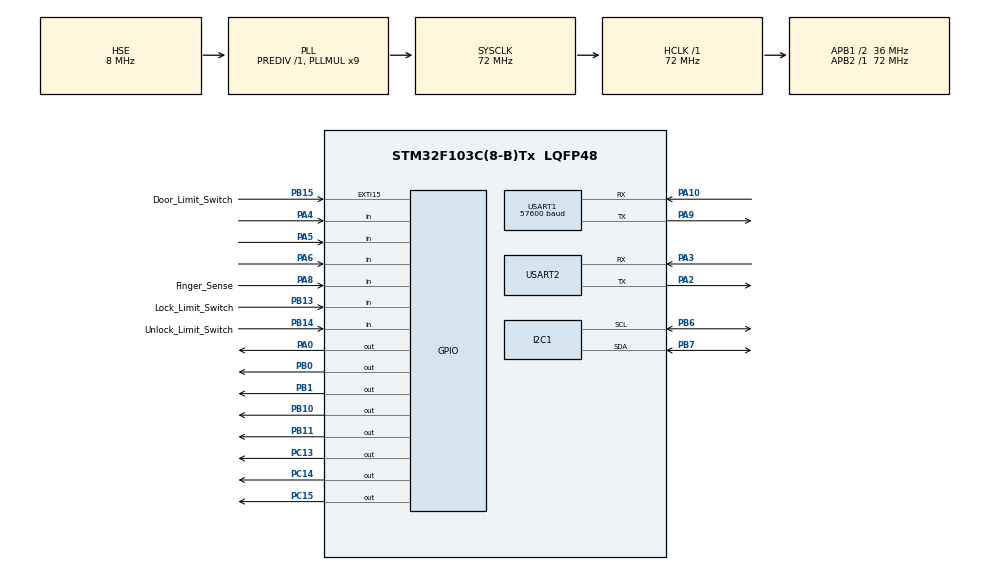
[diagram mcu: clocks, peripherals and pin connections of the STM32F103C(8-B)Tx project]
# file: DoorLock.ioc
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FREERTOS.Tasks01=OLEDTask,24,128,OLEDLoop,Default,NULL,Dynamic,NULL,NULL;KeyPadTask,24,128,KeyPadLoop,Default,NULL,Dynamic,NULL,NULL;FingerPrintTask,24,300,FingerPrintLoop,Default,NULL,Dynamic,NULL,NULL;LockControl,24,128,LockControlLoop,Default,NULL,Dynamic,NULL,NULL
FREERTOS.configTOTAL_HEAP_SIZE=5000
FREERTOS.configUSE_NEWLIB_REENTRANT=1
I2C1.I2C_Mode=I2C_Fast
IWDG.Reload=799
Mcu.Family=STM32F1
Mcu.Name=STM32F103C(8-B)Tx
Mcu.Package=LQFP48
NVIC.EXTI15_10_IRQn=true\:5\:0\:false\:false\:true\:true\:true\:true\:true
NVIC.PriorityGroup=NVIC_PRIORITYGROUP_4
NVIC.TIM1_UP_IRQn=true\:15\:0\:false\:false\:true\:false\:false\:true\:true
NVIC.TimeBase=TIM1_UP_IRQn
NVIC.TimeBaseIP=TIM1
NVIC.USART1_IRQn=true\:5\:0\:false\:false\:true\:true\:true\:true\:true
NVIC.USART2_IRQn=true\:5\:0\:false\:false\:true\:true\:true\:true\:true
PA0-WKUP.Signal=GPIO_Output
PA10.Mode=Asynchronous
PA10.Signal=USART1_RX
PA13.Mode=Serial_Wire
PA13.Signal=SYS_JTMS-SWDIO
PA14.Mode=Serial_Wire
PA14.Signal=SYS_JTCK-SWCLK
PA2.Mode=Asynchronous
PA2.Signal=USART2_TX
PA3.Mode=Asynchronous
PA3.Signal=USART2_RX
PA4.GPIO_PuPd=GPIO_PULLDOWN
PA4.Signal=GPIO_Input
PA5.GPIO_PuPd=GPIO_PULLDOWN
PA5.Signal=GPIO_Input
PA6.GPIO_PuPd=GPIO_PULLDOWN
PA6.Signal=GPIO_Input
PA8.GPIO_Label=Finger_Sense
PA8.GPIO_PuPd=GPIO_PULLDOWN
PA8.Signal=GPIO_Input
PA9.Mode=Asynchronous
PA9.Signal=USART1_TX
PB0.Signal=GPIO_Output
PB1.Signal=GPIO_Output
PB10.Signal=GPIO_Output
PB11.Signal=GPIO_Output
PB13.GPIO_Label=Lock_Limit_Switch
PB13.GPIO_PuPd=GPIO_PULLDOWN
PB13.Signal=GPIO_Input
PB14.GPIO_Label=Unlock_Limit_Switch
PB14.GPIO_PuPd=GPIO_PULLDOWN
PB14.Signal=GPIO_Input
PB15.GPIO_Label=Door_Limit_Switch
PB15.GPIO_ModeDefaultEXTI=GPIO_MODE_IT_RISING
PB15.GPIO_PuPd=GPIO_PULLDOWN
PB15.Signal=GPXTI15
PB6.Mode=I2C
PB6.Signal=I2C1_SCL
PB7.Mode=I2C
PB7.Signal=I2C1_SDA
PC13-TAMPER-RTC.Signal=GPIO_Output
PC14-OSC32_IN.Signal=GPIO_Output
PC15-OSC32_OUT.Signal=GPIO_Output
PD0-OSC_IN.Mode=HSE-External-Oscillator
PD0-OSC_IN.Signal=RCC_OSC_IN
PD1-OSC_OUT.Mode=HSE-External-Oscillator
PD1-OSC_OUT.Signal=RCC_OSC_OUT
ProjectManager.HeapSize=0x200
ProjectManager.StackSize=0x400
ProjectManager.TargetToolchain=STM32CubeIDE
RCC.AHBFreq_Value=72000000
RCC.APB1CLKDivider=RCC_HCLK_DIV2
RCC.APB1Freq_Value=36000000
RCC.APB1TimFreq_Value=72000000
RCC.APB2Freq_Value=72000000
RCC.APB2TimFreq_Value=72000000
RCC.HCLKFreq_Value=72000000
RCC.PLLMUL=RCC_PLL_MUL9
RCC.PLLSourceVirtual=RCC_PLLSOURCE_HSE
RCC.SYSCLKFreq_VALUE=72000000
RCC.SYSCLKSource=RCC_SYSCLKSOURCE_PLLCLK
RCC.USBFreq_Value=48000000
RCC.USBPrescaler=RCC_USBCLKSOURCE_PLL_DIV1_5
USART1.BaudRate=57600
USART1.VirtualMode=VM_ASYNC
USART2.VirtualMode=VM_ASYNC
VP_FREERTOS_VS_CMSIS_V2.Mode=CMSIS_V2
VP_IWDG_VS_IWDG.Mode=IWDG_Activate
VP_SYS_VS_tim1.Mode=TIM1
board=custom

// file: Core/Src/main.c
/* USER CODE BEGIN Header */
/**
  ******************************************************************************
  * @file           : main.c
  * @brief          : Main program body
  ******************************************************************************
  * @attention
  *
  * Copyright (c) 2024 STMicroelectronics.
  * All rights reserved.
  *
  * This software is licensed under terms that can be found in the LICENSE file
  * in the root directory of this software component.
  * If no LICENSE file comes with this software, it is provided AS-IS.
  *
  ******************************************************************************
  */
/* USER CODE END Header */
#include "main.h"
#include "cmsis_os.h"

/* USER CODE BEGIN PD */
#define FLASH_END_ADDRESS 0x0800FFFB  // Address of the last 5 bytes
/* USER CODE END PD */

I2C_HandleTypeDef hi2c1;

IWDG_HandleTypeDef hiwdg;

UART_HandleTypeDef huart1;
UART_HandleTypeDef huart2;

/* Definitions for OLEDTask */
osThreadId_t OLEDTaskHandle;
const osThreadAttr_t OLEDTask_attributes = {
  .name = "OLEDTask",
  .stack_size = 128 * 4,
  .priority = (osPriority_t) osPriorityNormal,
};
/* Definitions for KeyPadTask */
osThreadId_t KeyPadTaskHandle;
const osThreadAttr_t KeyPadTask_attributes = {
  .name = "KeyPadTask",
  .stack_size = 128 * 4,
  .priority = (osPriority_t) osPriorityNormal,
};
/* Definitions for FingerPrintTask */
osThreadId_t FingerPrintTaskHandle;
const osThreadAttr_t FingerPrintTask_attributes = {
  .name = "FingerPrintTask",
  .stack_size = 300 * 4,
  .priority = (osPriority_t) osPriorityNormal,
};
/* Definitions for LockControl */
osThreadId_t LockControlHandle;
const osThreadAttr_t LockControl_attributes = {
  .name = "LockControl",
  .stack_size = 128 * 4,
  .priority = (osPriority_t) osPriorityNormal,
};

void SystemClock_Config(void);
static void MX_GPIO_Init(void);
static void MX_I2C1_Init(void);
static void MX_USART1_UART_Init(void);
static void MX_USART2_UART_Init(void);
static void MX_IWDG_Init(void);
void OLEDLoop(void *argument);
void KeyPadLoop(void *argument);
void FingerPrintLoop(void *argument);
void LockControlLoop(void *argument);

/* USER CODE BEGIN 0 */
void HAL_UART_RxCpltCallback(UART_HandleTypeDef *huart)
{
    // Your receive callback code here
	char rx;
	if (huart == &huart1)
		HAL_UART_Receive_IT(&huart1, rx, 1);
	else if (huart == &huart2)
		HAL_UART_Receive_IT(&huart2, rx, 1);
}

void HAL_GPIO_EXTI_Callback(uint16_t GPIO_Pin)
{
  if(GPIO_Pin == Door_Limit_Switch_Pin) {
    Lock_state = 1;
  } else {
      __NOP();
  }
}
/* USER CODE END 0 */

int main(void)
{

  /* MCU Configuration--------------------------------------------------------*/

  /* Reset of all peripherals, Initializes the Flash interface and the Systick. */
  HAL_Init();

  /* Configure the system clock */
  SystemClock_Config();

  /* Initialize all configured peripherals */
  MX_GPIO_Init();
  MX_I2C1_Init();
  MX_USART1_UART_Init();
  MX_USART2_UART_Init();
  MX_IWDG_Init();

  /* Init scheduler */
  osKernelInitialize();

  /* Create the thread(s) */
  /* creation of OLEDTask */
  OLEDTaskHandle = osThreadNew(OLEDLoop, NULL, &OLEDTask_attributes);

  /* creation of KeyPadTask */
  KeyPadTaskHandle = osThreadNew(KeyPadLoop, NULL, &KeyPadTask_attributes);

  /* creation of FingerPrintTask */
  FingerPrintTaskHandle = osThreadNew(FingerPrintLoop, NULL, &FingerPrintTask_attributes);

  /* creation of LockControl */
  LockControlHandle = osThreadNew(LockControlLoop, NULL, &LockControl_attributes);

  /* Start scheduler */
  osKernelStart();

  /* We should never get here as control is now taken by the scheduler */
  /* Infinite loop */
  while (1)
  {

  }
}

void SystemClock_Config(void)
{
  RCC_OscInitTypeDef RCC_OscInitStruct = {0};
  RCC_ClkInitTypeDef RCC_ClkInitStruct = {0};

  /** Initializes the RCC Oscillators according to the specified parameters
  * in the RCC_OscInitTypeDef structure.
  */
  RCC_OscInitStruct.OscillatorType = RCC_OSCILLATORTYPE_LSI|RCC_OSCILLATORTYPE_HSE;
  RCC_OscInitStruct.HSEState = RCC_HSE_ON;
  RCC_OscInitStruct.HSEPredivValue = RCC_HSE_PREDIV_DIV1;
  RCC_OscInitStruct.HSIState = RCC_HSI_ON;
  RCC_OscInitStruct.LSIState = RCC_LSI_ON;
  RCC_OscInitStruct.PLL.PLLState = RCC_PLL_ON;
  RCC_OscInitStruct.PLL.PLLSource = RCC_PLLSOURCE_HSE;
  RCC_OscInitStruct.PLL.PLLMUL = RCC_PLL_MUL9;
  if (HAL_RCC_OscConfig(&RCC_OscInitStruct) != HAL_OK)
  {
    Error_Handler();
  }

  /** Initializes the CPU, AHB and APB buses clocks
  */
  RCC_ClkInitStruct.ClockType = RCC_CLOCKTYPE_HCLK|RCC_CLOCKTYPE_SYSCLK
                              |RCC_CLOCKTYPE_PCLK1|RCC_CLOCKTYPE_PCLK2;
  RCC_ClkInitStruct.SYSCLKSource = RCC_SYSCLKSOURCE_PLLCLK;
  RCC_ClkInitStruct.AHBCLKDivider = RCC_SYSCLK_DIV1;
  RCC_ClkInitStruct.APB1CLKDivider = RCC_HCLK_DIV2;
  RCC_ClkInitStruct.APB2CLKDivider = RCC_HCLK_DIV1;

  if (HAL_RCC_ClockConfig(&RCC_ClkInitStruct, FLASH_LATENCY_2) != HAL_OK)
  {
    Error_Handler();
  }
}

static void MX_I2C1_Init(void)
{

  hi2c1.Instance = I2C1;
  hi2c1.Init.ClockSpeed = 400000;
  hi2c1.Init.DutyCycle = I2C_DUTYCYCLE_2;
  hi2c1.Init.OwnAddress1 = 0;
  hi2c1.Init.AddressingMode = I2C_ADDRESSINGMODE_7BIT;
  hi2c1.Init.DualAddressMode = I2C_DUALADDRESS_DISABLE;
  hi2c1.Init.OwnAddress2 = 0;
  hi2c1.Init.GeneralCallMode = I2C_GENERALCALL_DISABLE;
  hi2c1.Init.NoStretchMode = I2C_NOSTRETCH_DISABLE;
  if (HAL_I2C_Init(&hi2c1) != HAL_OK)
  {
    Error_Handler();
  }

}

static void MX_IWDG_Init(void)
{

  hiwdg.Instance = IWDG;
  hiwdg.Init.Prescaler = IWDG_PRESCALER_4;
  hiwdg.Init.Reload = 799;
  if (HAL_IWDG_Init(&hiwdg) != HAL_OK)
  {
    Error_Handler();
  }

}

static void MX_USART1_UART_Init(void)
{

  huart1.Instance = USART1;
  huart1.Init.BaudRate = 57600;
  huart1.Init.WordLength = UART_WORDLENGTH_8B;
  huart1.Init.StopBits = UART_STOPBITS_1;
  huart1.Init.Parity = UART_PARITY_NONE;
  huart1.Init.Mode = UART_MODE_TX_RX;
  huart1.Init.HwFlowCtl = UART_HWCONTROL_NONE;
  huart1.Init.OverSampling = UART_OVERSAMPLING_16;
  if (HAL_UART_Init(&huart1) != HAL_OK)
  {
    Error_Handler();
  }

}

static void MX_USART2_UART_Init(void)
{

  huart2.Instance = USART2;
  huart2.Init.BaudRate = 115200;
  huart2.Init.WordLength = UART_WORDLENGTH_8B;
  huart2.Init.StopBits = UART_STOPBITS_1;
  huart2.Init.Parity = UART_PARITY_NONE;
  huart2.Init.Mode = UART_MODE_TX_RX;
  huart2.Init.HwFlowCtl = UART_HWCONTROL_NONE;
  huart2.Init.OverSampling = UART_OVERSAMPLING_16;
  if (HAL_UART_Init(&huart2) != HAL_OK)
  {
    Error_Handler();
  }

}

static void MX_GPIO_Init(void)
{
  GPIO_InitTypeDef GPIO_InitStruct = {0};

  /* GPIO Ports Clock Enable */
  __HAL_RCC_GPIOC_CLK_ENABLE();
  __HAL_RCC_GPIOD_CLK_ENABLE();
  __HAL_RCC_GPIOA_CLK_ENABLE();
  __HAL_RCC_GPIOB_CLK_ENABLE();

  /*Configure GPIO pin Output Level */
  HAL_GPIO_WritePin(GPIOC, GPIO_PIN_13|GPIO_PIN_14|GPIO_PIN_15, GPIO_PIN_RESET);

  /*Configure GPIO pin Output Level */
  HAL_GPIO_WritePin(GPIOA, GPIO_PIN_0, GPIO_PIN_RESET);

  /*Configure GPIO pin Output Level */
  HAL_GPIO_WritePin(GPIOB, GPIO_PIN_0|GPIO_PIN_1|GPIO_PIN_10|GPIO_PIN_11, GPIO_PIN_RESET);

  /*Configure GPIO pins : PC13 PC14 PC15 */
  GPIO_InitStruct.Pin = GPIO_PIN_13|GPIO_PIN_14|GPIO_PIN_15;
  GPIO_InitStruct.Mode = GPIO_MODE_OUTPUT_PP;
  GPIO_InitStruct.Pull = GPIO_NOPULL;
  GPIO_InitStruct.Speed = GPIO_SPEED_FREQ_LOW;
  HAL_GPIO_Init(GPIOC, &GPIO_InitStruct);

  /*Configure GPIO pin : PA0 */
  GPIO_InitStruct.Pin = GPIO_PIN_0;
  GPIO_InitStruct.Mode = GPIO_MODE_OUTPUT_PP;
  GPIO_InitStruct.Pull = GPIO_NOPULL;
  GPIO_InitStruct.Speed = GPIO_SPEED_FREQ_LOW;
  HAL_GPIO_Init(GPIOA, &GPIO_InitStruct);

  /*Configure GPIO pins : PA4 PA5 PA6 Finger_Sense_Pin */
  GPIO_InitStruct.Pin = GPIO_PIN_4|GPIO_PIN_5|GPIO_PIN_6|Finger_Sense_Pin;
  GPIO_InitStruct.Mode = GPIO_MODE_INPUT;
  GPIO_InitStruct.Pull = GPIO_PULLDOWN;
  HAL_GPIO_Init(GPIOA, &GPIO_InitStruct);

  /*Configure GPIO pins : PB0 PB1 PB10 PB11 */
  GPIO_InitStruct.Pin = GPIO_PIN_0|GPIO_PIN_1|GPIO_PIN_10|GPIO_PIN_11;
  GPIO_InitStruct.Mode = GPIO_MODE_OUTPUT_PP;
  GPIO_InitStruct.Pull = GPIO_NOPULL;
  GPIO_InitStruct.Speed = GPIO_SPEED_FREQ_LOW;
  HAL_GPIO_Init(GPIOB, &GPIO_InitStruct);

  /*Configure GPIO pins : Lock_Limit_Switch_Pin Unlock_Limit_Switch_Pin */
  GPIO_InitStruct.Pin = Lock_Limit_Switch_Pin|Unlock_Limit_Switch_Pin;
  GPIO_InitStruct.Mode = GPIO_MODE_INPUT;
  GPIO_InitStruct.Pull = GPIO_PULLDOWN;
  HAL_GPIO_Init(GPIOB, &GPIO_InitStruct);

  /*Configure GPIO pin : Door_Limit_Switch_Pin */
  GPIO_InitStruct.Pin = Door_Limit_Switch_Pin;
  GPIO_InitStruct.Mode = GPIO_MODE_IT_RISING;
  GPIO_InitStruct.Pull = GPIO_PULLDOWN;
  HAL_GPIO_Init(Door_Limit_Switch_GPIO_Port, &GPIO_InitStruct);

  /* EXTI interrupt init*/
  HAL_NVIC_SetPriority(EXTI15_10_IRQn, 5, 0);
  HAL_NVIC_EnableIRQ(EXTI15_10_IRQn);

}

void OLEDLoop(void *argument)
{
  /* USER CODE BEGIN 5 */
	  char prev = ' ';
	  uint8_t timeout_counter= 0;
	  SSD1306_Init();
	  char snum[5];

	  SSD1306_GotoXY (0,0);
	  SSD1306_Puts ("Wei", &Font_11x18, 1);
	  SSD1306_GotoXY (0, 30);
	  SSD1306_Puts ("Liu", &Font_11x18, 1);
	  SSD1306_UpdateScreen();
	  HAL_Delay (1000);

	  SSD1306_ScrollLeft(0,7);
	  HAL_Delay(3000);
	  SSD1306_ScrollRight(0,7);
	  HAL_Delay(3000);
	  SSD1306_Stopscroll();
	  SSD1306_Clear();
	  SSD1306_GotoXY (15,0);
	  SSD1306_Puts ("Enter Key", &Font_11x18, 1);
	  SSD1306_UpdateScreen();

  /* Infinite loop */
  for(;;)
  {
	  if(key_input != ' '){
		  if(prev != key_input){
		  		prev = key_input;
		  		SSD1306_GotoXY (53, 30);
		  		SSD1306_Puts ("             ", &Font_16x26, 1);
		  		SSD1306_UpdateScreen();
		  		SSD1306_GotoXY (53, 30);
		  		SSD1306_Puts (&key_input, &Font_16x26, 1);
		  		SSD1306_UpdateScreen();
		  }
	  }else{
		  prev = ' ';
	  }

    osDelay(200/ portTICK_PERIOD_MS);
  }
  /* USER CODE END 5 */
}

void KeyPadLoop(void *argument)
{
  /* USER CODE BEGIN KeyPadLoop */
  char prev = ' ';
  char entry[6];
  uint8_t index = 0;
  /* Infinite loop */
  for (;;)
  {
    key_pad_scan();
	  if(key_input != ' '){
		  if(prev != key_input){
		  		prev = key_input;
		  		SSD1306_GotoXY (53, 30);
		  		SSD1306_Puts ("             ", &Font_16x26, 1);
		  		SSD1306_UpdateScreen();
		  		SSD1306_GotoXY (53, 30);
		  		SSD1306_Puts (&prev, &Font_16x26, 1);
		  		SSD1306_UpdateScreen();

          if(index < 6){
            entry[index] = prev;
            index++;
          }

          if(prev == '#' || prev == '*'){
            SSD1306_Clear();
	          SSD1306_GotoXY (15,0);
            if(strcmp(entry, "980319") == 0){
              if(prev == '#'){
                //unlock
                Lock_state = 0;
	              SSD1306_Puts ("Unlocked", &Font_11x18, 1);
	              SSD1306_UpdateScreen();
              }else{
                SaveFinger_Flag = 1;
                SSD1306_Puts ("Place Finger", &Font_11x18, 1);
	              SSD1306_UpdateScreen();
              }
            }else{
              Lock_state = 1;
              SSD1306_Puts ("Incorrect Pin", &Font_11x18, 1);
	            SSD1306_UpdateScreen();
            }
            // Set all elements in the entry array to zero
            memset(entry, 0, sizeof(entry));
            index = 0;
          }

      }
    }
    osDelay(50 / portTICK_PERIOD_MS);
  }
  /* USER CODE END KeyPadLoop */
}

void FingerPrintLoop(void *argument)
{
  /* USER CODE BEGIN FingerPrintLoop */
  uint8_t result;
  uint8_t flag = 0;
  /* Infinite loop */
  for (;;)
  {
    if (HAL_GPIO_ReadPin(GPIOA, Finger_Sense_Pin) == GPIO_PIN_SET)
    {
      if(SaveFinger_Flag == 1){
        SSD1306_Clear();
	      SSD1306_GotoXY (15,0);
        SSD1306_Puts ("Saving...", &Font_11x18, 1);
	      SSD1306_UpdateScreen();
        result = save_fingerprint(0);
        SaveFinger_Flag = 0;
        if(result == 0){
          SSD1306_Clear();
	        SSD1306_GotoXY (15,0);
          SSD1306_Puts ("Finger Saved", &Font_11x18, 1);
	        SSD1306_UpdateScreen();
        }else{
          SSD1306_Clear();
	        SSD1306_GotoXY (15,0);
          SSD1306_Puts ("Try Again", &Font_11x18, 1);
	        SSD1306_UpdateScreen();
        }
      }else{
        if (flag == 0)
        {
          result = check_fingerprint();
          if(result == 0){
            //unlock
            Lock_state = 0;
            SSD1306_Puts ("Unlocked", &Font_11x18, 1);
	          SSD1306_UpdateScreen();
          }else{
            Lock_state = 1;
            SSD1306_Puts ("Unknown Finger", &Font_11x18, 1);
	          SSD1306_UpdateScreen();
          }
          flag = 1;
        }
        else
        {
          flag = 0;
        }
      }
    }

    // fingerprint_mode = save_fingerprint(i);//		 AS608_Add_Fingerprint();
    osDelay(50 / portTICK_PERIOD_MS);
  }
  /* USER CODE END FingerPrintLoop */
}

void LockControlLoop(void *argument)
{
  /* USER CODE BEGIN LockControlLoop */
  /* Infinite loop */
  for(;;)
  {
    HAL_IWDG_Refresh(&hiwdg);
    if(Lock_state == 0){
      //while limit switch not triggered
    	while(HAL_GPIO_ReadPin(Unlock_Limit_Switch_GPIO_Port, Unlock_Limit_Switch_Pin) != GPIO_PIN_SET){
        stepCV(256, 1 / portTICK_PERIOD_MS);
      }
      Lock_state = 2;
    }else if(Lock_state == 1){
      //while limit switch not triggered
    	while(HAL_GPIO_ReadPin(Lock_Limit_Switch_GPIO_Port, Lock_Limit_Switch_Pin) != GPIO_PIN_SET){
        stepCCV(256, 1 / portTICK_PERIOD_MS);
      }
      Lock_state = 2;
    }
    osDelay(50 / portTICK_PERIOD_MS);
  }
  /* USER CODE END LockControlLoop */
}

void HAL_TIM_PeriodElapsedCallback(TIM_HandleTypeDef *htim)
{
  if (htim->Instance == TIM1) {
    HAL_IncTick();
  }
}

void Error_Handler(void)
{
  __disable_irq();
  while (1)
  {
  }
}
